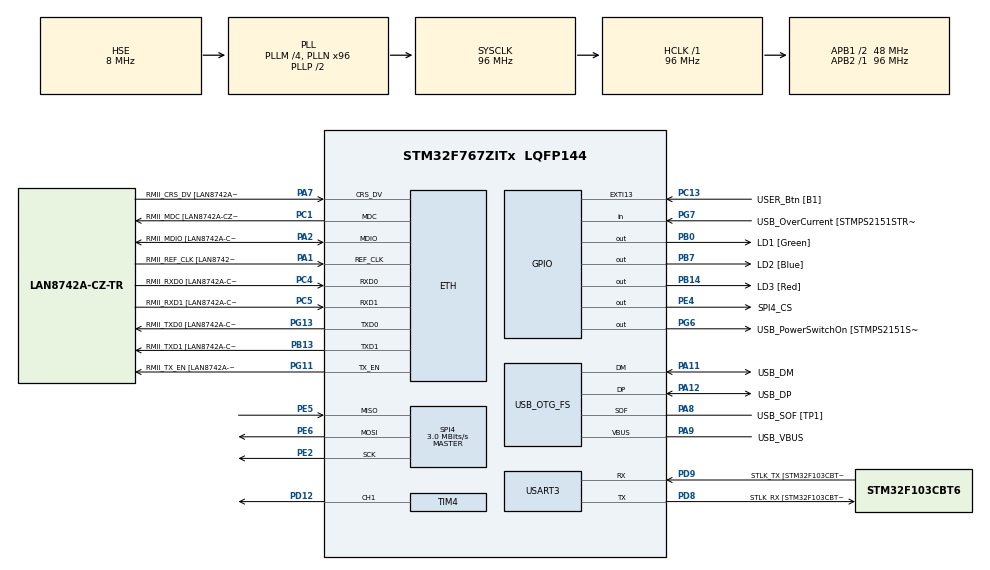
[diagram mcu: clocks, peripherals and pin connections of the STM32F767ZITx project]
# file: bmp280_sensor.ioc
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CORTEX_M7.default_mode_Activation=1
ETH.MediaInterface=HAL_ETH_RMII_MODE
ETH.PHY_Name=LAN8742A_PHY_ADDRESS
ETH.PHY_Value=0
ETH.PhyAddress=0
Mcu.Family=STM32F7
Mcu.Name=STM32F767ZITx
Mcu.Package=LQFP144
NVIC.PriorityGroup=NVIC_PRIORITYGROUP_4
NVIC.SPI4_IRQn=true\:0\:0\:false\:false\:true\:true\:true\:true
NVIC.TIM3_IRQn=true\:0\:0\:false\:false\:true\:true\:true\:true
NVIC.USART3_IRQn=true\:0\:0\:false\:false\:true\:true\:true\:true
PA1.GPIO_Label=RMII_REF_CLK [LAN8742A-CZ-TR_REFCLK0]
PA1.Mode=RMII
PA1.Signal=ETH_REF_CLK
PA10.GPIO_Label=USB_ID
PA10.Signal=USB_OTG_FS_ID
PA11.GPIO_Label=USB_DM
PA11.Mode=Device_Only
PA11.Signal=USB_OTG_FS_DM
PA12.GPIO_Label=USB_DP
PA12.Mode=Device_Only
PA12.Signal=USB_OTG_FS_DP
PA13.GPIO_Label=TMS
PA13.Mode=Serial_Wire
PA13.Signal=SYS_JTMS-SWDIO
PA14.GPIO_Label=TCK
PA14.Mode=Serial_Wire
PA14.Signal=SYS_JTCK-SWCLK
PA2.GPIO_Label=RMII_MDIO [LAN8742A-CZ-TR_MDIO]
PA2.Mode=RMII
PA2.Signal=ETH_MDIO
PA7.GPIO_Label=RMII_CRS_DV [LAN8742A-CZ-TR_CRS_DV]
PA7.Mode=RMII
PA7.Signal=ETH_CRS_DV
PA8.GPIO_Label=USB_SOF [TP1]
PA8.Mode=Activate_SOF_FS
PA8.Signal=USB_OTG_FS_SOF
PA9.GPIO_Label=USB_VBUS
PA9.Mode=Activate_VBUS
PA9.Signal=USB_OTG_FS_VBUS
PB0.GPIO_Label=LD1 [Green]
PB0.Signal=GPIO_Output
PB13.GPIO_Label=RMII_TXD1 [LAN8742A-CZ-TR_TXD1]
PB13.Mode=RMII
PB13.Signal=ETH_TXD1
PB14.GPIO_Label=LD3 [Red]
PB14.Signal=GPIO_Output
PB3.GPIO_Label=SWO
PB3.Signal=SYS_JTDO-SWO
PB7.GPIO_Label=LD2 [Blue]
PB7.Signal=GPIO_Output
PC1.GPIO_Label=RMII_MDC [LAN8742A-CZ-TR_MDC]
PC1.Mode=RMII
PC1.Signal=ETH_MDC
PC13.GPIO_Label=USER_Btn [B1]
PC13.Signal=GPXTI13
PC14/OSC32_IN.Mode=LSE-External-Oscillator
PC14/OSC32_IN.Signal=RCC_OSC32_IN
PC15/OSC32_OUT.Mode=LSE-External-Oscillator
PC15/OSC32_OUT.Signal=RCC_OSC32_OUT
PC4.GPIO_Label=RMII_RXD0 [LAN8742A-CZ-TR_RXD0]
PC4.Mode=RMII
PC4.Signal=ETH_RXD0
PC5.GPIO_Label=RMII_RXD1 [LAN8742A-CZ-TR_RXD1]
PC5.Mode=RMII
PC5.Signal=ETH_RXD1
PD12.Signal=S_TIM4_CH1
PD8.GPIO_Label=STLK_RX [STM32F103CBT6_PA3]
PD8.Mode=Asynchronous
PD8.Signal=USART3_TX
PD9.GPIO_Label=STLK_TX [STM32F103CBT6_PA2]
PD9.Mode=Asynchronous
PD9.Signal=USART3_RX
PE2.Mode=Full_Duplex_Master
PE2.Signal=SPI4_SCK
PE4.GPIO_Label=SPI4_CS
PE4.GPIO_Speed=GPIO_SPEED_FREQ_VERY_HIGH
PE4.PinState=GPIO_PIN_SET
PE4.Signal=GPIO_Output
PE5.Mode=Full_Duplex_Master
PE5.Signal=SPI4_MISO
PE6.Mode=Full_Duplex_Master
PE6.Signal=SPI4_MOSI
PG11.GPIO_Label=RMII_TX_EN [LAN8742A-CZ-TR_TXEN]
PG11.Mode=RMII
PG11.Signal=ETH_TX_EN
PG13.GPIO_Label=RMII_TXD0 [LAN8742A-CZ-TR_TXD0]
PG13.Mode=RMII
PG13.Signal=ETH_TXD0
PG6.GPIO_Label=USB_PowerSwitchOn [STMPS2151STR_EN]
PG6.Signal=GPIO_Output
PG7.GPIO_Label=USB_OverCurrent [STMPS2151STR_FAULT]
PG7.Signal=GPIO_Input
PH0/OSC_IN.GPIO_Label=MCO [STM32F103CBT6_PA8]
PH0/OSC_IN.Mode=HSE-External-Clock-Source
PH0/OSC_IN.Signal=RCC_OSC_IN
PH1/OSC_OUT.Mode=HSE-External-Clock-Source
PH1/OSC_OUT.Signal=RCC_OSC_OUT
ProjectManager.HeapSize=0x200
ProjectManager.StackSize=0x400
ProjectManager.TargetToolchain=CMake
RCC.48MHZClocksFreq_Value=24000000
RCC.AHBFreq_Value=96000000
RCC.APB1CLKDivider=RCC_HCLK_DIV2
RCC.APB1Freq_Value=48000000
RCC.APB1TimFreq_Value=96000000
RCC.APB2Freq_Value=96000000
RCC.APB2TimFreq_Value=96000000
RCC.CortexFreq_Value=96000000
RCC.HCLKFreq_Value=96000000
RCC.HSE_VALUE=8000000
RCC.HSI_VALUE=16000000
RCC.PLLM=4
RCC.PLLMUL=RCC_PLL_MUL9
RCC.PLLN=96
RCC.PLLQ=4
RCC.PRESCALERUSB=RCC_USBCLKSOURCE_PLL_DIV1_5
RCC.SYSCLKFreq_VALUE=96000000
RCC.SYSCLKSource=RCC_SYSCLKSOURCE_PLLCLK
RCC.SYSCLKSourceVirtual=RCC_SYSCLKSOURCE_PLLCLK
RCC.USBFreq_Value=48000000
RCC.VCOOutputFreq_Value=192000000
SH.S_TIM4_CH1.0=TIM4_CH1,PWM Generation1 CH1
SPI4.BaudRatePrescaler=SPI_BAUDRATEPRESCALER_32
SPI4.CLKPhase=SPI_PHASE_2EDGE
SPI4.CLKPolarity=SPI_POLARITY_HIGH
SPI4.CRCCalculation=SPI_CRCCALCULATION_DISABLE
SPI4.CalculateBaudRate=3.0 MBits/s
SPI4.DataSize=SPI_DATASIZE_8BIT
SPI4.Direction=SPI_DIRECTION_2LINES
SPI4.Mode=SPI_MODE_MASTER
SPI4.VirtualType=VM_MASTER
TIM3.Period=9999
TIM3.Prescaler=9599
TIM4.Channel-PWM\ Generation1\ CH1=TIM_CHANNEL_1
TIM4.Period=9999
TIM4.Prescaler=95
USART3.VirtualMode-Asynchronous=VM_ASYNC
USB_OTG_FS.VirtualMode=Device_Only
VP_TIM3_VS_ClockSourceINT.Mode=Internal
VP_TIM4_VS_ClockSourceINT.Mode=Internal
board=NUCLEO-F767ZI

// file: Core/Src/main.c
/* USER CODE BEGIN Header */
/**
  ******************************************************************************
  * @file           : main.c
  * @brief          : Main program body
  ******************************************************************************
  * @attention
  *
  * Copyright (c) 2026 STMicroelectronics.
  * All rights reserved.
  *
  * This software is licensed under terms that can be found in the LICENSE file
  * in the root directory of this software component.
  * If no LICENSE file comes with this software, it is provided AS-IS.
  *
  ******************************************************************************
  */
/* USER CODE END Header */
#include "main.h"
#include "eth.h"
#include "spi.h"
#include "tim.h"
#include "usart.h"
#include "usb_otg.h"
#include "gpio.h"

/* USER CODE BEGIN Includes */
#include "bmp280.h"
#include "logger.h"
#include "string.h"
#include "stdio.h"
/* USER CODE END Includes */

/* USER CODE BEGIN PV */
bmp280_compensation_params calibration;

bool readTempPressRequest = false; // Flag to indicate a temp and pressure read request
bool printTempPress = false; // Flag to indicate whether to print temp and pressure

// PWM part of code variables
float PWMvalue = 0.0f;
uint16_t PWMchannel = 0;
uint16_t compare_value;
/* USER CODE END PV */

void SystemClock_Config(void);
static void MPU_Config(void);

/* USER CODE BEGIN 0 */
void HAL_TIM_PeriodElapsedCallback(TIM_HandleTypeDef *htim)
{
  if(htim->Instance == TIM3)
  {
    readTempPressRequest = true; // Set the flag to indicate a light intensity read request
  }
}

void HAL_UART_RxCpltCallback(UART_HandleTypeDef *huart)
{
  if(huart->Instance == USART3)
  {
    ReceiveDataByByte(&huart3);
  }
}
/* USER CODE END 0 */

int main(void)
{

  /* MPU Configuration--------------------------------------------------------*/
  MPU_Config();

  /* MCU Configuration--------------------------------------------------------*/

  /* Reset of all peripherals, Initializes the Flash interface and the Systick. */
  HAL_Init();

  /* Configure the system clock */
  SystemClock_Config();

  /* Initialize all configured peripherals */
  MX_GPIO_Init();
  MX_ETH_Init();
  MX_USART3_UART_Init();
  MX_USB_OTG_FS_PCD_Init();
  MX_SPI4_Init();
  MX_TIM3_Init();
  MX_TIM4_Init();
  /* USER CODE BEGIN 2 */
  uint8_t sensor_id = bmp280_init(&hspi4); // Creating sensor
  if (sensor_id != 0x58U)
  {
    Error_Handler();
  }
  bmp280_read_compensation_params(&hspi4, &calibration);
  HAL_TIM_Base_Start_IT(&htim3); // Starting timer for reading temp and pressure
  HAL_UART_Receive_IT(&huart3, &rxByte,1); // UART for receiving data
  HAL_TIM_PWM_Start(&htim4, TIM_CHANNEL_1); // PWM for heater resistor curcuit
  char message[100]; // Message buffer for UART transmission
  /* USER CODE END 2 */

  /* Infinite loop */
  /* USER CODE BEGIN WHILE */
  while (1)
  {
    if(commandReady)
    {
      commandReady = false;
      HandleCommand(rxCommand, &printTempPress, &htim3); //Definition in logger.c file, handles all srots of commands
      // Additionally, to handle PWM control over UART
      if(sscanf(rxCommand, "PWM%hu=%f", &PWMchannel, &PWMvalue) == 2)
      {
        if(PWMchannel == 1 && PWMvalue>=0.0f && PWMvalue<=100.0f)
        {
          __HAL_TIM_SET_COMPARE(&htim4,TIM_CHANNEL_1,PWMvalue*10); // Change the PWM value
          compare_value = __HAL_TIM_GET_COMPARE(&htim4,TIM_CHANNEL_1); // For debugging purposes
        }
      }
    }
    if(readTempPressRequest)
    {
      readTempPressRequest = false;
      bmp280_read_raw_data(&hspi4);
      bmp280_compensate_data(&calibration);
      LogData(temperature_degC,pressure_Pa/100,&huart3); // Logging given numebr of samples and printing at once
      LogSamples(temperature_degC,pressure_Pa/100,&huart3); // Continuous logging of live plotting of data
      PrintLastLogs(&huart3); // Printing a given numer of last logs
      snprintf(message,sizeof(message),"Temp: %.2f [C], Pressure: %.2f [hPa]\r\n",temperature_degC,pressure_Pa/100);
      if(printTempPress)
      {
        HAL_UART_Transmit(&huart3, (uint8_t*)message, strlen(message), HAL_MAX_DELAY); // Sending a temp and pressure message
      }
    }
    /* USER CODE END WHILE */

  }
}

void SystemClock_Config(void)
{
  RCC_OscInitTypeDef RCC_OscInitStruct = {0};
  RCC_ClkInitTypeDef RCC_ClkInitStruct = {0};

  /** Configure LSE Drive Capability
  */
  HAL_PWR_EnableBkUpAccess();

  /** Configure the main internal regulator output voltage
  */
  __HAL_RCC_PWR_CLK_ENABLE();
  __HAL_PWR_VOLTAGESCALING_CONFIG(PWR_REGULATOR_VOLTAGE_SCALE3);

  /** Initializes the RCC Oscillators according to the specified parameters
  * in the RCC_OscInitTypeDef structure.
  */
  RCC_OscInitStruct.OscillatorType = RCC_OSCILLATORTYPE_HSE;
  RCC_OscInitStruct.HSEState = RCC_HSE_BYPASS;
  RCC_OscInitStruct.PLL.PLLState = RCC_PLL_ON;
  RCC_OscInitStruct.PLL.PLLSource = RCC_PLLSOURCE_HSE;
  RCC_OscInitStruct.PLL.PLLM = 4;
  RCC_OscInitStruct.PLL.PLLN = 96;
  RCC_OscInitStruct.PLL.PLLP = RCC_PLLP_DIV2;
  RCC_OscInitStruct.PLL.PLLQ = 4;
  RCC_OscInitStruct.PLL.PLLR = 2;
  if (HAL_RCC_OscConfig(&RCC_OscInitStruct) != HAL_OK)
  {
    Error_Handler();
  }

  /** Activate the Over-Drive mode
  */
  if (HAL_PWREx_EnableOverDrive() != HAL_OK)
  {
    Error_Handler();
  }

  /** Initializes the CPU, AHB and APB buses clocks
  */
  RCC_ClkInitStruct.ClockType = RCC_CLOCKTYPE_HCLK|RCC_CLOCKTYPE_SYSCLK
                              |RCC_CLOCKTYPE_PCLK1|RCC_CLOCKTYPE_PCLK2;
  RCC_ClkInitStruct.SYSCLKSource = RCC_SYSCLKSOURCE_PLLCLK;
  RCC_ClkInitStruct.AHBCLKDivider = RCC_SYSCLK_DIV1;
  RCC_ClkInitStruct.APB1CLKDivider = RCC_HCLK_DIV2;
  RCC_ClkInitStruct.APB2CLKDivider = RCC_HCLK_DIV1;

  if (HAL_RCC_ClockConfig(&RCC_ClkInitStruct, FLASH_LATENCY_3) != HAL_OK)
  {
    Error_Handler();
  }
}

 /* MPU Configuration */

void MPU_Config(void)
{
  MPU_Region_InitTypeDef MPU_InitStruct = {0};

  /* Disables the MPU */
  HAL_MPU_Disable();

  /** Initializes and configures the Region and the memory to be protected
  */
  MPU_InitStruct.Enable = MPU_REGION_ENABLE;
  MPU_InitStruct.Number = MPU_REGION_NUMBER0;
  MPU_InitStruct.BaseAddress = 0x0;
  MPU_InitStruct.Size = MPU_REGION_SIZE_4GB;
  MPU_InitStruct.SubRegionDisable = 0x87;
  MPU_InitStruct.TypeExtField = MPU_TEX_LEVEL0;
  MPU_InitStruct.AccessPermission = MPU_REGION_NO_ACCESS;
  MPU_InitStruct.DisableExec = MPU_INSTRUCTION_ACCESS_DISABLE;
  MPU_InitStruct.IsShareable = MPU_ACCESS_SHAREABLE;
  MPU_InitStruct.IsCacheable = MPU_ACCESS_NOT_CACHEABLE;
  MPU_InitStruct.IsBufferable = MPU_ACCESS_NOT_BUFFERABLE;

  HAL_MPU_ConfigRegion(&MPU_InitStruct);
  /* Enables the MPU */
  HAL_MPU_Enable(MPU_PRIVILEGED_DEFAULT);

}

void Error_Handler(void)
{
  __disable_irq();
  while (1)
  {
  }
}
